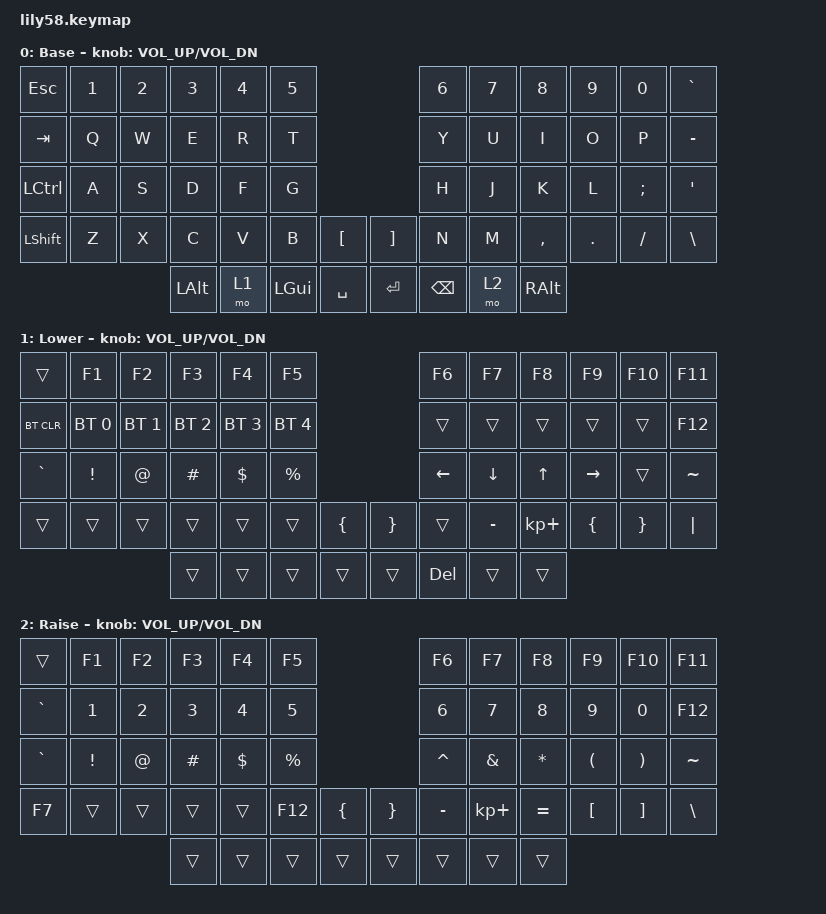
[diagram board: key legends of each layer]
/*
 * Copyright (c) 2020 The ZMK Contributors
 *
 * SPDX-License-Identifier: MIT
 */

#include <behaviors.dtsi>
#include <dt-bindings/zmk/bt.h>
#include <dt-bindings/zmk/keys.h>

/ {
    keymap {
        compatible = "zmk,keymap";

        default_layer {
            // ------------------------------------------------------------------------------------------------------------
            // |  ESC  |  1  |  2  |  3   |  4   |  5   |                   |  6   |  7    |  8    |  9   |   0   |   `   |
            // |  TAB  |  Q  |  W  |  E   |  R   |  T   |                   |  Y   |  U    |  I    |  O   |   P   |   -   |
            // |  CTRL |  A  |  S  |  D   |  F   |  G   |                   |  H   |  J    |  K    |  L   |   ;   |   '   |
            // | SHIFT |  Z  |  X  |  C   |  V   |  B   |   "["  |  |  "]"  |  N   |  M    |  ,    |  .   |   /   | SHIFT |
            //                     | ALT  | GUI  | LOWER|  SPACE |  | ENTER | RAISE| BSPC  | GUI   |

            display-name = "Base";
            bindings = <
&kp ESC    &kp N1  &kp N2  &kp N3    &kp N4  &kp N5                           &kp N6         &kp N7  &kp N8     &kp N9   &kp N0    &kp GRAVE
&kp TAB    &kp Q   &kp W   &kp E     &kp R   &kp T                            &kp Y          &kp U   &kp I      &kp O    &kp P     &kp MINUS
&kp LCTRL  &kp A   &kp S   &kp D     &kp F   &kp G                            &kp H          &kp J   &kp K      &kp L    &kp SEMI  &kp SQT
&kp LSHFT  &kp Z   &kp X   &kp C     &kp V   &kp B     &kp LBKT     &kp RBKT  &kp N          &kp M   &kp COMMA  &kp DOT  &kp FSLH  &kp BACKSLASH
                           &kp LALT  &mo 1   &kp LGUI  &kp SPACE    &kp RET   &kp BACKSPACE  &mo 2   &kp RALT
            >;

            sensor-bindings = <&inc_dec_kp C_VOL_UP C_VOL_DN>;
        };

        lower_layer {
            // ------------------------------------------------------------------------------------------------------------
            // |       |  F1 |  F2 |  F3  |  F4  |  F5  |                   |  F6  |  F7   |  F8   |  F9  |  F10  |  F11  |
            // | BTCLR | BT1 | BT2 |  BT3 |  BT4 |  BT5 |                   |      |       |       |      |       |  F12  |
            // |   `   |  !  |  @  |  #   |  $   |  %   |                   |  ^   |  &    |  *    |  (   |   )   |   ~   |
            // |       |     |     |      |      |      |        |  |       |      |  _    |  +    |  {   |   }   |  "|"  |
            //                     |      |      |      |        |  |       |      |       |       |

            display-name = "Lower";
            bindings = <
&trans      &kp F1        &kp F2        &kp F3        &kp F4        &kp F5                                           &kp F6      &kp F7     &kp F8       &kp F9     &kp F10   &kp F11
&bt BT_CLR  &bt BT_SEL 0  &bt BT_SEL 1  &bt BT_SEL 2  &bt BT_SEL 3  &bt BT_SEL 4                                     &trans      &trans     &trans       &trans     &trans    &kp F12
&kp GRAVE   &kp EXCL      &kp AT        &kp HASH      &kp DOLLAR    &kp PRCNT                                        &kp LEFT    &kp DOWN   &kp UP       &kp RIGHT  &trans    &kp TILDE
&trans      &trans        &trans        &trans        &trans        &trans        &kp LEFT_BRACE    &kp RIGHT_BRACE  &trans      &kp MINUS  &kp KP_PLUS  &kp LBRC   &kp RBRC  &kp PIPE
                                        &trans        &trans        &trans        &trans            &trans           &kp DELETE  &trans     &trans
            >;

            sensor-bindings = <&inc_dec_kp C_VOL_UP C_VOL_DN>;
        };

        raise_layer {
            // ------------------------------------------------------------------------------------------------------------
            // |       |  F1 |  F2 |  F3  |  F4  |  F5  |                   |  F6  |  F7   |  F8   |  F9  |  F10  |  F11  |
            // |   `   |  1  |  2  |  3   |  4   |  5   |                   |  6   |   7   |   8   |  9   |   0   |  F12  |
            // |   `   |  !  |  @  |  #   |  $   |  %   |                   |  ^   |   &   |   *   |  (   |   )   |   ~   |
            // |   F7  |     |     |      |      |  F12 |        |  |       |  -   |   +   |   =   |  [   |   ]   |   \   |
            //                     |      |      |      |        |  |       |      |       |       |

            display-name = "Raise";
            bindings = <
&trans     &kp F1           &kp F2  &kp F3    &kp F4    &kp F5                                          &kp F6     &kp F7         &kp F8     &kp F9                &kp F10                &kp F11
&kp GRAVE  &kp N1           &kp N2  &kp N3    &kp N4    &kp N5                                          &kp N6     &kp N7         &kp N8     &kp N9                &kp N0                 &kp F12
&kp GRAVE  &kp EXCLAMATION  &kp AT  &kp HASH  &kp DLLR  &kp PERCENT                                     &kp CARET  &kp AMPERSAND  &kp ASTRK  &kp LEFT_PARENTHESIS  &kp RIGHT_PARENTHESIS  &kp TILDE
&kp F7     &trans           &trans  &trans    &trans    &kp F12      &kp LEFT_BRACE    &kp RIGHT_BRACE  &kp MINUS  &kp KP_PLUS    &kp EQUAL  &kp LBKT              &kp RBKT               &kp BSLH
                                    &trans    &trans    &trans       &trans            &trans           &trans     &trans         &trans
            >;

            sensor-bindings = <&inc_dec_kp C_VOL_UP C_VOL_DN>;
        };

        extra_1 { status = "reserved"; };

        extra_2 { status = "reserved"; };

        extra_3 { status = "reserved"; };
    };
};
